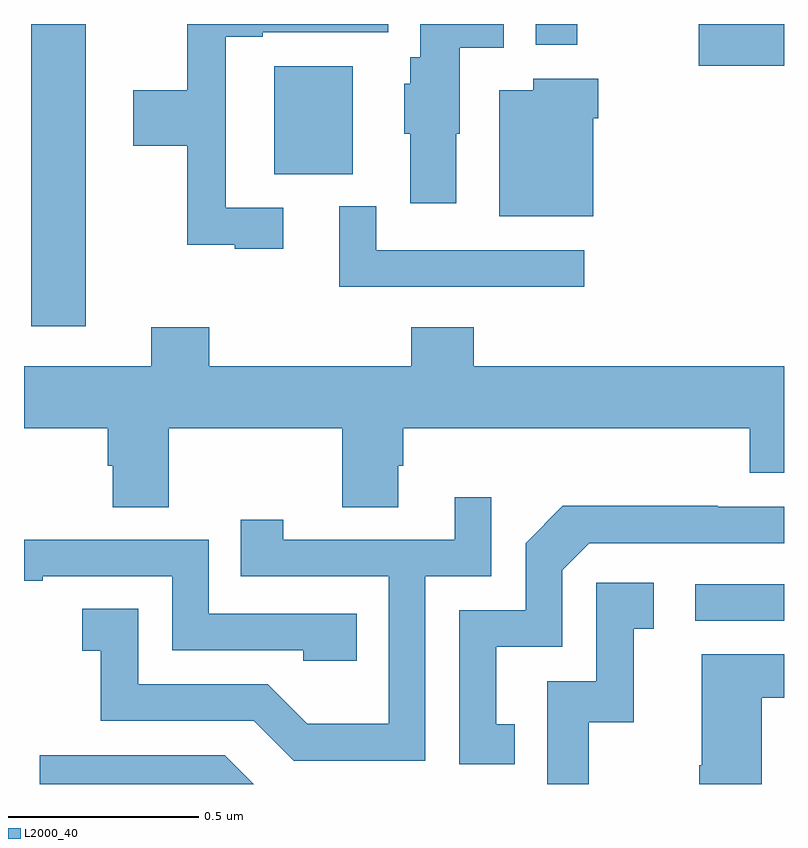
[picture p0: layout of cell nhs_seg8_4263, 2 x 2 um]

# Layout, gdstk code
import gdstk
lib = gdstk.Library(unit=1e-6, precision=1e-09)
def R(c, l, rs):  # rectangles x0, y0, x1, y1
    for r in rs: c.add(gdstk.rectangle(r[:2], r[2:], *l))
def P(c, l, *ps):  # polygons
    for p in ps: c.add(gdstk.Polygon(p, *l))
L2000_40 = (2000, 40)

nhs_seg8_4263 = lib.new_cell('nhs_seg8_4263')
R(nhs_seg8_4263, L2000_40, [(169.767,1113.33,170,1113.426), (168.019,1114.104,168.163,1114.9), (168.659,1114.505,168.865,1114.789), (169.776,1114.79,170,1114.9), (169.347,1114.845,169.456,1114.9)])
P(nhs_seg8_4263, L2000_40, [(169.138,1114.611),(169.147,1114.611),(169.147,1114.838),(169.262,1114.838),(169.262,1114.9),(169.043,1114.9),(169.043,1114.812),(169.016,1114.812),(169.016,1114.743),(169.001,1114.743),(169.001,1114.611),(169.016,1114.611),(169.016,1114.428),(169.138,1114.428)],
  [(168.682,1114.416),(168.531,1114.416),(168.531,1114.866),(168.628,1114.866),(168.628,1114.878),(168.958,1114.878),(168.958,1114.9),(168.43,1114.9),(168.43,1114.726),(168.288,1114.726),(168.288,1114.579),(168.43,1114.579),(168.43,1114.319),(168.554,1114.319),(168.554,1114.308),(168.682,1114.308)],
  [(169.498,1114.652),(169.511,1114.652),(169.511,1114.756),(169.34,1114.756),(169.34,1114.726),(169.25,1114.726),(169.25,1114.394),(169.498,1114.394)],
  [(169.474,1114.305),(168.927,1114.305),(168.927,1114.42),(168.83,1114.42),(168.83,1114.209),(169.474,1114.209)],
  [(168.381,1113.836),(168.838,1113.836),(168.838,1113.628),(168.985,1113.628),(168.985,1113.738),(168.998,1113.738),(168.998,1113.836),(169.91,1113.836),(169.91,1113.719),(170,1113.719),(170,1114),(169.184,1114),(169.184,1114.102),(169.019,1114.102),(169.019,1114),(168.488,1114),(168.488,1114.102),(168.335,1114.102),(168.335,1114),(168,1114),(168,1113.836),(168.221,1113.836),(168.221,1113.738),(168.233,1113.738),(168.233,1113.628),(168.381,1113.628)],
  [(169.056,1113.447),(169.23,1113.447),(169.23,1113.655),(169.133,1113.655),(169.133,1113.543),(168.682,1113.543),(168.682,1113.595),(168.571,1113.595),(168.571,1113.447),(168.96,1113.447),(168.96,1113.058),(168.746,1113.058),(168.642,1113.162),(168.3,1113.162),(168.3,1113.361),(168.153,1113.361),(168.153,1113.251),(168.202,1113.251),(168.202,1113.066),(168.605,1113.066),(168.71,1112.961),(169.056,1112.961)],
  [(169.292,1113.057),(169.243,1113.057),(169.243,1113.261),(169.416,1113.261),(169.416,1113.462),(169.488,1113.534),(170,1113.534),(170,1113.63),(169.826,1113.63),(169.826,1113.632),(169.418,1113.632),(169.32,1113.534),(169.32,1113.357),(169.146,1113.357),(169.146,1112.952),(169.292,1112.952)],
  [(168.875,1113.348),(168.486,1113.348),(168.486,1113.543),(168,1113.543),(168,1113.435),(168.049,1113.435),(168.049,1113.447),(168.39,1113.447),(168.39,1113.252),(168.735,1113.252),(168.735,1113.225),(168.875,1113.225)],
  [(169.486,1113.063),(169.604,1113.063),(169.604,1113.309),(169.657,1113.309),(169.657,1113.43),(169.506,1113.43),(169.506,1113.171),(169.377,1113.171),(169.377,1112.9),(169.486,1112.9)],
  [(169.942,1113.127),(170,1113.127),(170,1113.241),(169.784,1113.241),(169.784,1112.95),(169.777,1112.95),(169.777,1112.9),(169.942,1112.9)],
  [(168.528,1112.976),(168.042,1112.976),(168.042,1112.9),(168.604,1112.9)])

lib.write_gds('nhs_seg8_4263.gds')
